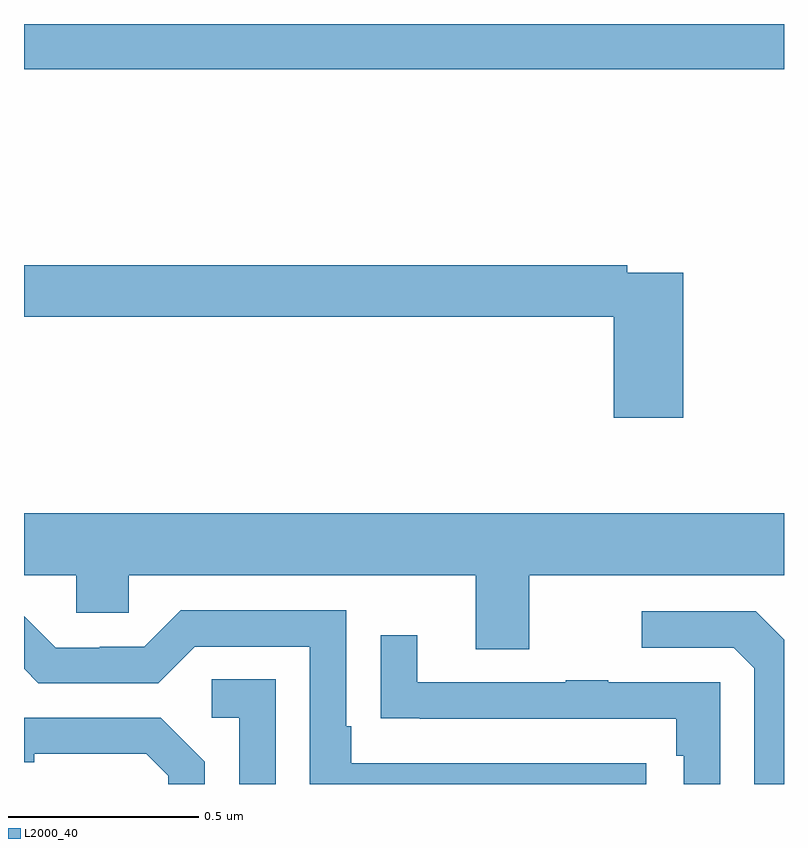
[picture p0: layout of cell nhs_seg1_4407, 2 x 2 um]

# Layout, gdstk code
import gdstk
lib = gdstk.Library(unit=1e-6, precision=1e-09)
def R(c, l, rs):  # rectangles x0, y0, x1, y1
    for r in rs: c.add(gdstk.rectangle(r[:2], r[2:], *l))
def P(c, l, *ps):  # polygons
    for p in ps: c.add(gdstk.Polygon(p, *l))
L2000_40 = (2000, 40)

nhs_seg1_4407 = lib.new_cell('nhs_seg1_4407')
R(nhs_seg1_4407, L2000_40, [(166,537.08,168,537.199)])
P(nhs_seg1_4407, L2000_40, [(167.735,536.544),(167.588,536.544),(167.588,536.564),(166,536.564),(166,536.428),(167.552,536.428),(167.552,536.163),(167.735,536.163)],
  [(167.329,535.748),(168,535.748),(168,535.912),(166,535.912),(166,535.748),(166.137,535.748),(166.137,535.65),(166.275,535.65),(166.275,535.748),(167.189,535.748),(167.189,535.554),(167.329,535.554)],
  [(167.638,535.254),(166.861,535.254),(166.861,535.351),(166.848,535.351),(166.848,535.656),(166.413,535.656),(166.317,535.56),(166.199,535.56),(166.199,535.557),(166.083,535.557),(166,535.64),(166,535.502),(166.038,535.464),(166.353,535.464),(166.449,535.56),(166.752,535.56),(166.752,535.199),(167.638,535.199)],
  [(168,535.578),(167.925,535.653),(167.625,535.653),(167.625,535.557),(167.868,535.557),(167.922,535.503),(167.922,535.199),(168,535.199)],
  [(167.832,535.467),(167.537,535.467),(167.537,535.472),(167.425,535.472),(167.425,535.467),(167.035,535.467),(167.035,535.591),(166.939,535.591),(166.939,535.372),(167.041,535.372),(167.041,535.371),(167.716,535.371),(167.716,535.274),(167.736,535.274),(167.736,535.199),(167.832,535.199)],
  [(166.662,535.475),(166.494,535.475),(166.494,535.374),(166.566,535.374),(166.566,535.199),(166.662,535.199)],
  [(166.476,535.258),(166.36,535.374),(166,535.374),(166,535.256),(166.027,535.256),(166.027,535.278),(166.322,535.278),(166.379,535.221),(166.379,535.199),(166.476,535.199)])

lib.write_gds('nhs_seg1_4407.gds')
